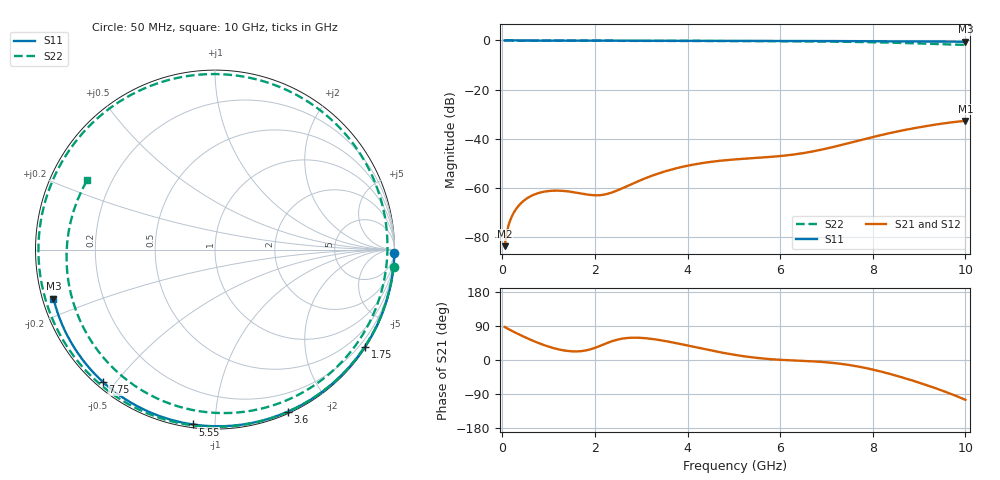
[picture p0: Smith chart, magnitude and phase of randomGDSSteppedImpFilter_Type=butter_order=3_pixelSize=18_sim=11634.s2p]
! freq	dB(S11)	phase(S11)	dB(S12)	phase(S12)
!  dB(S21)	phase(S21)	dB(S22)	phase(S22)
!S-par simulation data
#  GHz  S  DB  R 50
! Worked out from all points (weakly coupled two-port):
!   200 points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, 50 MHz to 10 GHz, reference 50 ohm
!   highest |S21| = -32.65 dB at 10 GHz (marker M1); lowest = -83.5 dB at 50 MHz (marker M2)
!   lowest |S11| = -0.5 dB at 10 GHz (marker M3), VSWR 32.58, Z = 1.57 - j7.42 ohm
!   |S11| at or under -10 dB: nowhere
!   |S22| runs from -1.8 to 0.0 dB; largest |S21 - S12| = 0
!   S11 on the Smith chart (normalised r, x): 50 MHz: open; 1.75 GHz: 0.03, -3.39; 3.6 GHz: 0.02, -1.55; 5.55 GHz: 0.02, -0.88; 7.75 GHz: 0.02, -0.46; 10 GHz: 0.03, -0.15
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0.05  -0.00 -1.0  -83.52 87.2  -83.52 87.2  -0.00 -5.5
0.2  -0.01 -3.8  -71.68 77.3  -71.68 77.3  -0.03 -21.7
0.3  -0.01 -5.7  -68.37 71.2  -68.37 71.2  -0.04 -32.3
0.55  -0.01 -10.5  -63.91 56.7  -63.91 56.7  -0.07 -57.6
0.8  -0.02 -15.2  -61.85 44.0  -61.85 44.0  -0.09 -80.7
1.2  -0.03 -22.7  -60.98 28.5  -60.98 28.5  -0.11 -112.8
1.75  -0.04 -32.9  -62.30 24.1  -62.30 24.1  -0.13 -149.1
2.5  -0.06 -46.5  -60.76 54.2  -60.76 54.2  -0.14 171.0
3.4  -0.08 -62.3  -53.84 52.5  -53.84 52.5  -0.16 129.5
3.6  -0.09 -65.7  -52.70 48.2  -52.70 48.2  -0.17 120.7
4.3  -0.11 -77.4  -49.84 30.4  -49.84 30.4  -0.19 90.2
5.05  -0.14 -89.5  -48.26 13.0  -48.26 13.0  -0.23 57.3
5.55  -0.16 -97.3  -47.61 4.9  -47.61 4.9  -0.27 35.2
6.15  -0.19 -106.5  -46.64 -0.5  -46.64 -0.5  -0.32 8.5
6.7  -0.22 -114.8  -45.07 -3.6  -45.07 -3.6  -0.40 -16.3
7.2  -0.26 -122.2  -43.01 -8.5  -43.01 -8.5  -0.49 -39.1
7.75  -0.30 -130.2  -40.40 -18.8  -40.40 -18.8  -0.64 -65.0
8.35  -0.35 -138.9  -37.69 -36.0  -37.69 -36.0  -0.87 -95.1
8.85  -0.40 -146.2  -35.77 -53.9  -35.77 -53.9  -1.13 -123.2
9.35  -0.46 -153.5  -34.17 -74.2  -34.17 -74.2  -1.45 -155.9
9.7  -0.50 -158.6  -33.25 -90.1  -33.25 -90.1  -1.68 177.3
10  -0.53 -163.1  -32.65 -105.0  -32.65 -105.0  -1.82 151.6
